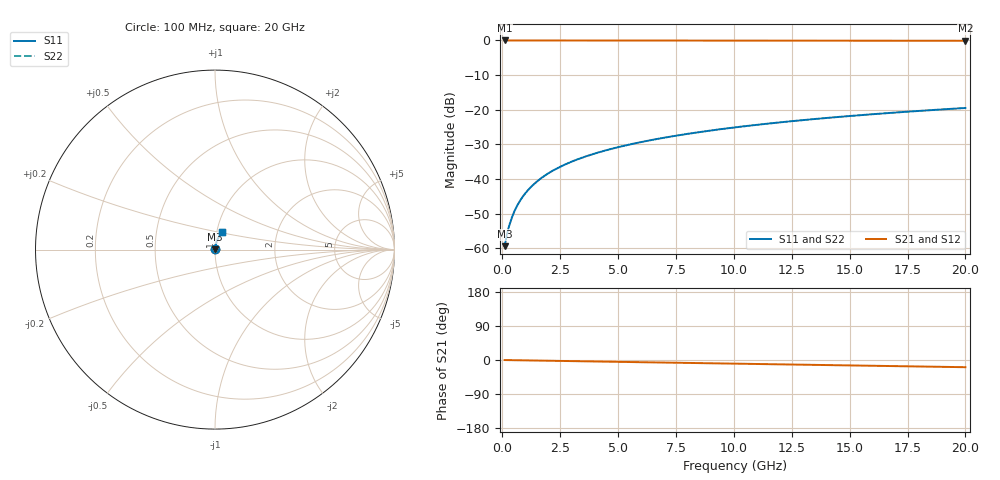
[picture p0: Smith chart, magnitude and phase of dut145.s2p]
! Touchstone file exported from HFSS 2026.1.0
!  File:  C:/ffzhzh/LocalFiles/Ansys_Project_Files/temp_train_BSMRDL_145_1782986476_41620.aedt
!  Generated:  06:02:36 PM Jul  2, 2026
!  Design:  BSMRDL
!  Project:  temp_train_BSMRDL_145_1782986476_41620
! Variables:
!  h_bsmrdl = 5.98um
!  h_ox = 20um
!  h_rdl = 5um
!  h_sub = 80um
!  h_tmrdl = 5um
!  h_tsv = 80um
!  h_via = 3um
!  l_bsmrdl = 296.82um
!  l_sub = 696.82um
!  l_tmrdl = 200um
!  m_sub = 200um
!  pitch = 44.72um
!  r_tsv = 6um
!  s_tmrdl = 10um
!  w_bsmrdl = 29.73um
!  w_sub = 500um
!  w_tmrdl = 12um
!  x_tsv_center1 = 206um
!  x_tsv_center2 = 532.55um
!  x_tsv_center3 = 744.55um
!  x_tsv_center4 = 1071.1um
!  x_tsv_center5 = 1283.1um
!  x_tsv_center6 = 1609.65um
# GHz S MA R 50.000000
! Terminal data exported
! Port[1] = BSM_RDL1_1_T1
! Port[2] = BSM_RDL1_1_T2
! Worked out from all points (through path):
!   200 points, 100 MHz to 20 GHz, reference 50 ohm
!   highest |S21| = -0.01 dB at 100 MHz (marker M1); lowest = -0.1 dB at 20 GHz (marker M2)
!   group delay of S21, straight-line fit = 2.63 ps
!   lowest |S11| = -59.4 dB at 100 MHz (marker M3), VSWR 1.00, Z = 50.1 + j0.0735 ohm
!   |S11| at or under -10 dB: start of sweep to end of sweep
!   |S22| runs from -59.4 to -19.5 dB; largest |S21 - S12| = 3e-15
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0.1  0.001075 43.0  0.9992 -0.1  0.9992 -0.1  0.001075 43.0
! Gamma 0 0 0 0
! Port Impedance 50 0 50 0
0.2  0.001596 56.9  0.9991 -0.2  0.9991 -0.2  0.001596 56.9
0.3  0.002136 64.6  0.999 -0.3  0.999 -0.3  0.002136 64.6
0.4  0.002701 69.4  0.999 -0.4  0.999 -0.4  0.002701 69.4
0.5  0.003281 72.6  0.9989 -0.5  0.9989 -0.5  0.003281 72.6
0.6  0.003871 74.8  0.9989 -0.6  0.9989 -0.6  0.003871 74.8
0.8  0.005064 77.5  0.9989 -0.8  0.9989 -0.8  0.005064 77.5
1.1  0.006859 79.4  0.9988 -1.1  0.9988 -1.1  0.00686 79.4
1.3  0.008052 80.1  0.9987 -1.3  0.9987 -1.3  0.008052 80.1
1.5  0.009237 80.5  0.9986 -1.5  0.9986 -1.5  0.009237 80.5
1.8  0.011 80.8  0.9985 -1.8  0.9985 -1.8  0.011 80.8
2.1  0.01274 80.9  0.9983 -2.1  0.9983 -2.1  0.01274 80.9
2.7  0.01616 80.9  0.998 -2.7  0.998 -2.7  0.01616 80.9
3.5  0.02063 80.5  0.9976 -3.4  0.9976 -3.4  0.02063 80.5
4.2  0.02447 80.2  0.9973 -4.1  0.9973 -4.1  0.02447 80.2
5  0.02882 79.7  0.9969 -4.9  0.9969 -4.9  0.02882 79.7
6.8  0.03848 78.6  0.996 -6.6  0.996 -6.6  0.03848 78.6
8.3  0.04645 77.6  0.9953 -8.0  0.9953 -8.0  0.04645 77.6
10.1  0.05592 76.2  0.9945 -9.7  0.9945 -9.7  0.05592 76.2
13.4  0.07301 73.6  0.9927 -12.8  0.9927 -12.8  0.07301 73.6
16.7  0.08974 70.8  0.9908 -15.9  0.9908 -15.9  0.08974 70.8
20  0.1061 68.0  0.9887 -19.0  0.9887 -19.0  0.1061 68.0
